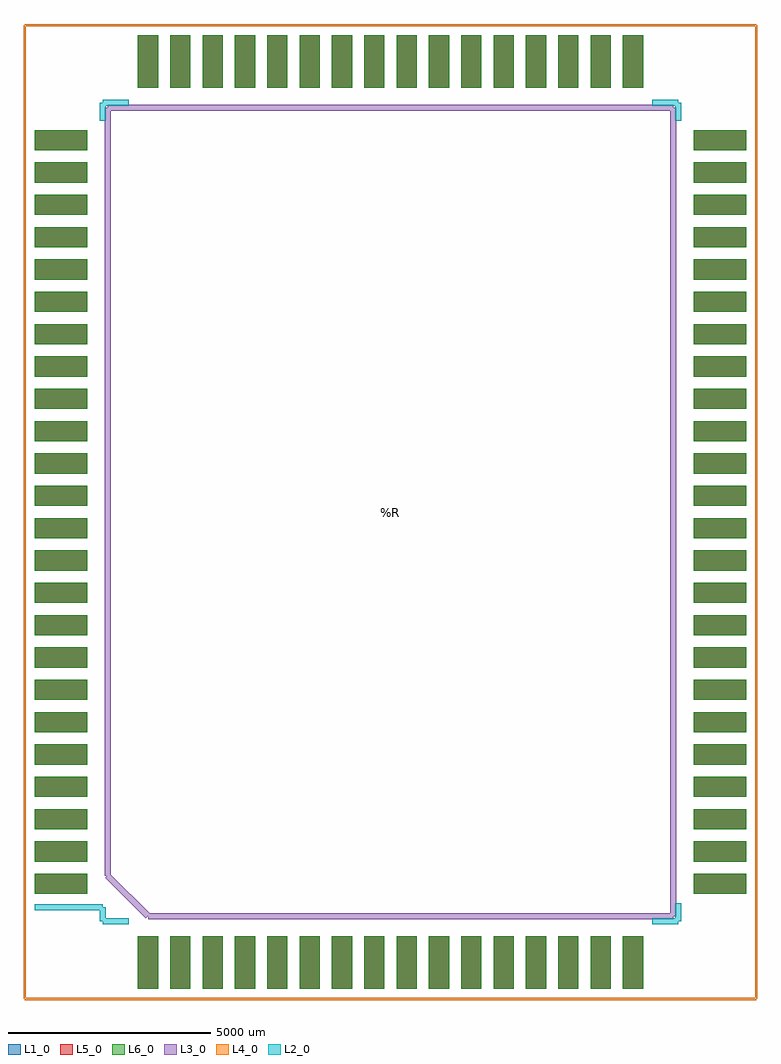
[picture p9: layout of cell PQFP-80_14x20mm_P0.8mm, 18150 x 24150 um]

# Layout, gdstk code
import gdstk
lib = gdstk.Library(unit=1e-6, precision=1e-09)
def R(c, l, rs):  # rectangles x0, y0, x1, y1
    for r in rs: c.add(gdstk.rectangle(r[:2], r[2:], *l))
def A(c, l, x, y, w, h, nx, ny, dx, dy):  # array of equal rectangles
    R(c, l, [(x+i*dx, y+j*dy, x+i*dx+w, y+j*dy+h) for i in range(nx) for j in range(ny)])
L1_0 = (1, 0)
L2_0 = (2, 0)
L3_0 = (3, 0)
L4_0 = (4, 0)
L5_0 = (5, 0)
L6_0 = (6, 0)

pqfp_80_14x20mm_p0_8mm = lib.new_cell('PQFP-80_14x20mm_P0.8mm')
A(pqfp_80_14x20mm_p0_8mm, L1_0, -6250, -11800, 500, 1300, 16, 2, 800, 22300)
A(pqfp_80_14x20mm_p0_8mm, L1_0, -8800, -9450, 1300, 500, 1, 24, 0, 800)
A(pqfp_80_14x20mm_p0_8mm, L1_0, 7500, -9450, 1300, 500, 1, 24, 0, 800)
A(pqfp_80_14x20mm_p0_8mm, L5_0, -6250, -11800, 500, 1300, 16, 2, 800, 22300)
A(pqfp_80_14x20mm_p0_8mm, L5_0, -8800, -9450, 1300, 500, 1, 24, 0, 800)
A(pqfp_80_14x20mm_p0_8mm, L5_0, 7500, -9450, 1300, 500, 1, 24, 0, 800)
A(pqfp_80_14x20mm_p0_8mm, L6_0, -6250, -11800, 500, 1300, 16, 2, 800, 22300)
A(pqfp_80_14x20mm_p0_8mm, L6_0, -8800, -9450, 1300, 500, 1, 24, 0, 800)
A(pqfp_80_14x20mm_p0_8mm, L6_0, 7500, -9450, 1300, 500, 1, 24, 0, 800)
pqfp_80_14x20mm_p0_8mm.add(gdstk.FlexPath([(-6000,-10000),(7000,-10000)], 150, ends="flush", simple_path=True, layer=3, datatype=0))  # L3_0
pqfp_80_14x20mm_p0_8mm.add(gdstk.FlexPath([(7000,-10000),(7000,10000)], 150, ends="flush", simple_path=True, layer=3, datatype=0))  # L3_0
pqfp_80_14x20mm_p0_8mm.add(gdstk.FlexPath([(7000,10000),(-7000,10000)], 150, ends="flush", simple_path=True, layer=3, datatype=0))  # L3_0
pqfp_80_14x20mm_p0_8mm.add(gdstk.FlexPath([(-7000,10000),(-7000,-9000)], 150, ends="flush", simple_path=True, layer=3, datatype=0))  # L3_0
pqfp_80_14x20mm_p0_8mm.add(gdstk.FlexPath([(-7000,-9000),(-6000,-10000)], 150, ends="flush", simple_path=True, layer=3, datatype=0))  # L3_0
pqfp_80_14x20mm_p0_8mm.add(gdstk.FlexPath([(-9050,-12050),(-9050,12050)], 50, ends="flush", simple_path=True, layer=4, datatype=0))  # L4_0
pqfp_80_14x20mm_p0_8mm.add(gdstk.FlexPath([(9050,-12050),(9050,12050)], 50, ends="flush", simple_path=True, layer=4, datatype=0))  # L4_0
pqfp_80_14x20mm_p0_8mm.add(gdstk.FlexPath([(-9050,-12050),(9050,-12050)], 50, ends="flush", simple_path=True, layer=4, datatype=0))  # L4_0
pqfp_80_14x20mm_p0_8mm.add(gdstk.FlexPath([(-9050,12050),(9050,12050)], 50, ends="flush", simple_path=True, layer=4, datatype=0))  # L4_0
pqfp_80_14x20mm_p0_8mm.add(gdstk.FlexPath([(-7125,-10125),(-7125,-9775)], 150, ends="flush", simple_path=True, layer=2, datatype=0))  # L2_0
pqfp_80_14x20mm_p0_8mm.add(gdstk.FlexPath([(7125,-10125),(7125,-9675)], 150, ends="flush", simple_path=True, layer=2, datatype=0))  # L2_0
pqfp_80_14x20mm_p0_8mm.add(gdstk.FlexPath([(7125,10125),(7125,9675)], 150, ends="flush", simple_path=True, layer=2, datatype=0))  # L2_0
pqfp_80_14x20mm_p0_8mm.add(gdstk.FlexPath([(-7125,10125),(-7125,9675)], 150, ends="flush", simple_path=True, layer=2, datatype=0))  # L2_0
pqfp_80_14x20mm_p0_8mm.add(gdstk.FlexPath([(-7125,-10125),(-6475,-10125)], 150, ends="flush", simple_path=True, layer=2, datatype=0))  # L2_0
pqfp_80_14x20mm_p0_8mm.add(gdstk.FlexPath([(-7125,10125),(-6475,10125)], 150, ends="flush", simple_path=True, layer=2, datatype=0))  # L2_0
pqfp_80_14x20mm_p0_8mm.add(gdstk.FlexPath([(7125,10125),(6475,10125)], 150, ends="flush", simple_path=True, layer=2, datatype=0))  # L2_0
pqfp_80_14x20mm_p0_8mm.add(gdstk.FlexPath([(7125,-10125),(6475,-10125)], 150, ends="flush", simple_path=True, layer=2, datatype=0))  # L2_0
pqfp_80_14x20mm_p0_8mm.add(gdstk.FlexPath([(-7125,-9775),(-8800,-9775)], 150, ends="flush", simple_path=True, layer=2, datatype=0))  # L2_0
pqfp_80_14x20mm_p0_8mm.add(gdstk.Label('REF**', (0,-12800), layer=2, texttype=0))
pqfp_80_14x20mm_p0_8mm.add(gdstk.Label('PQFP-80_14x20mm_P0.8mm', (0,12800), layer=3, texttype=0))
pqfp_80_14x20mm_p0_8mm.add(gdstk.Label('%R', (0,0), layer=3, texttype=0))

lib.write_gds('PQFP-80_14x20mm_P0.8mm.gds')
